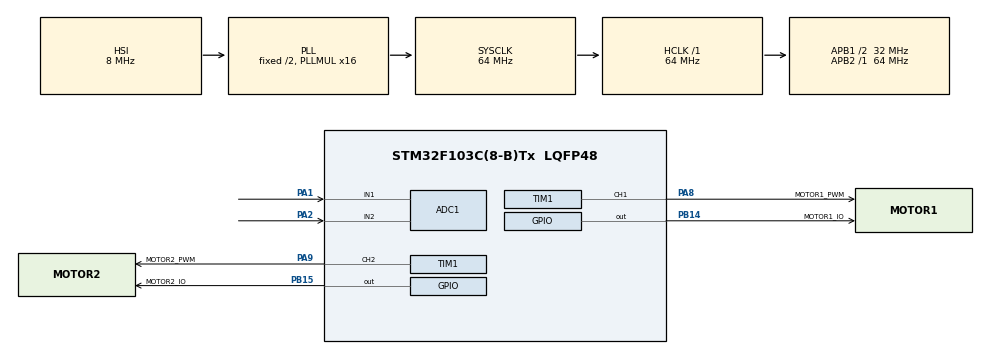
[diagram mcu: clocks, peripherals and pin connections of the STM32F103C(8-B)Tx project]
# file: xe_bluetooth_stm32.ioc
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ADC1.Channel-2\#ChannelRegularConversion=ADC_CHANNEL_1
ADC1.Channel-3\#ChannelRegularConversion=ADC_CHANNEL_2
ADC1.ContinuousConvMode=ENABLE
ADC1.DataAlign=ADC_DATAALIGN_RIGHT
ADC1.DiscontinuousConvMode=DISABLE
ADC1.NbrOfConversion=2
ADC1.NbrOfConversionFlag=1
ADC1.Rank-2\#ChannelRegularConversion=1
ADC1.Rank-3\#ChannelRegularConversion=2
ADC1.SamplingTime-2\#ChannelRegularConversion=ADC_SAMPLETIME_239CYCLES_5
ADC1.SamplingTime-3\#ChannelRegularConversion=ADC_SAMPLETIME_239CYCLES_5
ADC1.master=1
Dma.ADC1.0.Direction=DMA_PERIPH_TO_MEMORY
Dma.ADC1.0.Instance=DMA1_Channel1
Dma.ADC1.0.MemDataAlignment=DMA_MDATAALIGN_WORD
Dma.ADC1.0.MemInc=DMA_MINC_ENABLE
Dma.ADC1.0.Mode=DMA_CIRCULAR
Dma.ADC1.0.PeriphDataAlignment=DMA_PDATAALIGN_WORD
Dma.ADC1.0.PeriphInc=DMA_PINC_DISABLE
Dma.ADC1.0.Priority=DMA_PRIORITY_LOW
Dma.Request0=ADC1
Mcu.Family=STM32F1
Mcu.Name=STM32F103C(8-B)Tx
Mcu.Package=LQFP48
NVIC.DMA1_Channel1_IRQn=true\:0\:0\:false\:false\:true\:false\:true\:true
NVIC.PriorityGroup=NVIC_PRIORITYGROUP_4
NVIC.TIM1_UP_IRQn=true\:0\:0\:true\:false\:true\:true\:true\:true
PA1.Signal=ADCx_IN1
PA13.Mode=Serial_Wire
PA13.Signal=SYS_JTMS-SWDIO
PA14.Mode=Serial_Wire
PA14.Signal=SYS_JTCK-SWCLK
PA2.Signal=ADCx_IN2
PA8.GPIO_Label=MOTOR1_PWM
PA8.Signal=S_TIM1_CH1
PA9.GPIO_Label=MOTOR2_PWM
PA9.Signal=S_TIM1_CH2
PB14.GPIO_Label=MOTOR1_IO
PB14.Signal=GPIO_Output
PB15.GPIO_Label=MOTOR2_IO
PB15.Signal=GPIO_Output
PD0-OSC_IN.Mode=HSE-External-Oscillator
PD0-OSC_IN.Signal=RCC_OSC_IN
PD1-OSC_OUT.Mode=HSE-External-Oscillator
PD1-OSC_OUT.Signal=RCC_OSC_OUT
ProjectManager.HeapSize=0x200
ProjectManager.StackSize=0x400
ProjectManager.TargetToolchain=STM32CubeIDE
RCC.ADCPresc=RCC_ADCPCLK2_DIV8
RCC.AHBFreq_Value=64000000
RCC.APB1CLKDivider=RCC_HCLK_DIV2
RCC.APB1Freq_Value=32000000
RCC.APB1TimFreq_Value=64000000
RCC.APB2Freq_Value=64000000
RCC.APB2TimFreq_Value=64000000
RCC.HCLKFreq_Value=64000000
RCC.PLLMUL=RCC_PLL_MUL16
RCC.SYSCLKFreq_VALUE=64000000
RCC.SYSCLKSource=RCC_SYSCLKSOURCE_PLLCLK
RCC.USBFreq_Value=64000000
SH.ADCx_IN1.0=ADC1_IN1,IN1
SH.ADCx_IN2.0=ADC1_IN2,IN2
SH.S_TIM1_CH1.0=TIM1_CH1,PWM Generation1 CH1
SH.S_TIM1_CH2.0=TIM1_CH2,PWM Generation2 CH2
TIM1.Channel-PWM\ Generation1\ CH1=TIM_CHANNEL_1
TIM1.Channel-PWM\ Generation2\ CH2=TIM_CHANNEL_2
TIM1.Period=999
TIM1.Prescaler=63
VP_TIM1_VS_ClockSourceINT.Mode=Internal
board=custom

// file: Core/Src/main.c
/* USER CODE BEGIN Header */
/**
  ******************************************************************************
  * @file           : main.c
  * @brief          : Main program body
  ******************************************************************************
  * @attention
  *
  * Copyright (c) 2024 STMicroelectronics.
  * All rights reserved.
  *
  * This software is licensed under terms that can be found in the LICENSE file
  * in the root directory of this software component.
  * If no LICENSE file comes with this software, it is provided AS-IS.
  *
  ******************************************************************************
  */
/* USER CODE END Header */
#include "main.h"

/* USER CODE BEGIN Includes */
#include "car.h"
/* USER CODE END Includes */

ADC_HandleTypeDef hadc1;
DMA_HandleTypeDef hdma_adc1;

TIM_HandleTypeDef htim1;

/* USER CODE BEGIN PV */
uint16_t arr;
uint16_t ccr;
uint16_t ccr2;
uint16_t cnt;
uint32_t VR[2];
/* USER CODE END PV */

void SystemClock_Config(void);
static void MX_GPIO_Init(void);
static void MX_DMA_Init(void);
static void MX_TIM1_Init(void);
static void MX_ADC1_Init(void);

int main(void)
{

  /* MCU Configuration--------------------------------------------------------*/

  /* Reset of all peripherals, Initializes the Flash interface and the Systick. */
  HAL_Init();

  /* Configure the system clock */
  SystemClock_Config();

  /* Initialize all configured peripherals */
  MX_GPIO_Init();
  MX_DMA_Init();
  MX_TIM1_Init();
  MX_ADC1_Init();
  /* USER CODE BEGIN 2 */
 car_init(&htim1);
 //car_control(CAR_FORWARD_STATE, 90);
 HAL_ADC_Start_DMA(&hadc1, VR, 2);

  /* USER CODE END 2 */

  /* Infinite loop */
  while (1)
  {

    /* USER CODE BEGIN 3 */
	  //car_control(CAR_FORWARD_STATE, 50);
//	  car_control(CAR_FORWARD_STATE, 50);

	 arr = __HAL_TIM_GET_AUTORELOAD(&htim1);
	 ccr = __HAL_TIM_GET_COMPARE(&htim1,TIM_CHANNEL_1);
	 ccr2 = __HAL_TIM_GET_COMPARE(&htim1,TIM_CHANNEL_2);
	 cnt = __HAL_TIM_GET_COUNTER(&htim1);
	 if(VR[0] > 4000 && VR[1]>2800)
	 {
		 car_control(CAR_FORWARD_STATE, 90);
	 }
	 else if(VR[0] == 0 && VR[1]>3000)
	 {
		 car_control(CAR_BACKWARD_STATE, 90);
	 }
	 else 	 if(VR[0] > 3000 && VR[1] == 0)
	 {
		 car_control(CAR_RIGHT_STATE, 90);
	 }
	 else 	 if(VR[0] > 3000  && VR[1] > 4000)
	 {
		 car_control(CAR_LEFT_STATE, 90);
	 }
	 else 	 if(VR[0] > 3000 && VR[0] < 4000 && VR[1] >3000 && VR[1] < 4000)
	 {
		 car_control(CAR_FORWARD_STATE, 0);
	 }

  }
  /* USER CODE END 3 */
}

void SystemClock_Config(void)
{
  RCC_OscInitTypeDef RCC_OscInitStruct = {0};
  RCC_ClkInitTypeDef RCC_ClkInitStruct = {0};
  RCC_PeriphCLKInitTypeDef PeriphClkInit = {0};

  /** Initializes the RCC Oscillators according to the specified parameters
  * in the RCC_OscInitTypeDef structure.
  */
  RCC_OscInitStruct.OscillatorType = RCC_OSCILLATORTYPE_HSI;
  RCC_OscInitStruct.HSIState = RCC_HSI_ON;
  RCC_OscInitStruct.HSICalibrationValue = RCC_HSICALIBRATION_DEFAULT;
  RCC_OscInitStruct.PLL.PLLState = RCC_PLL_ON;
  RCC_OscInitStruct.PLL.PLLSource = RCC_PLLSOURCE_HSI_DIV2;
  RCC_OscInitStruct.PLL.PLLMUL = RCC_PLL_MUL16;
  if (HAL_RCC_OscConfig(&RCC_OscInitStruct) != HAL_OK)
  {
    Error_Handler();
  }

  /** Initializes the CPU, AHB and APB buses clocks
  */
  RCC_ClkInitStruct.ClockType = RCC_CLOCKTYPE_HCLK|RCC_CLOCKTYPE_SYSCLK
                              |RCC_CLOCKTYPE_PCLK1|RCC_CLOCKTYPE_PCLK2;
  RCC_ClkInitStruct.SYSCLKSource = RCC_SYSCLKSOURCE_PLLCLK;
  RCC_ClkInitStruct.AHBCLKDivider = RCC_SYSCLK_DIV1;
  RCC_ClkInitStruct.APB1CLKDivider = RCC_HCLK_DIV2;
  RCC_ClkInitStruct.APB2CLKDivider = RCC_HCLK_DIV1;

  if (HAL_RCC_ClockConfig(&RCC_ClkInitStruct, FLASH_LATENCY_2) != HAL_OK)
  {
    Error_Handler();
  }
  PeriphClkInit.PeriphClockSelection = RCC_PERIPHCLK_ADC;
  PeriphClkInit.AdcClockSelection = RCC_ADCPCLK2_DIV8;
  if (HAL_RCCEx_PeriphCLKConfig(&PeriphClkInit) != HAL_OK)
  {
    Error_Handler();
  }
}

static void MX_ADC1_Init(void)
{

  ADC_ChannelConfTypeDef sConfig = {0};

  /** Common config
  */
  hadc1.Instance = ADC1;
  hadc1.Init.ScanConvMode = ADC_SCAN_ENABLE;
  hadc1.Init.ContinuousConvMode = ENABLE;
  hadc1.Init.DiscontinuousConvMode = DISABLE;
  hadc1.Init.ExternalTrigConv = ADC_SOFTWARE_START;
  hadc1.Init.DataAlign = ADC_DATAALIGN_RIGHT;
  hadc1.Init.NbrOfConversion = 2;
  if (HAL_ADC_Init(&hadc1) != HAL_OK)
  {
    Error_Handler();
  }

  /** Configure Regular Channel
  */
  sConfig.Channel = ADC_CHANNEL_1;
  sConfig.Rank = ADC_REGULAR_RANK_1;
  sConfig.SamplingTime = ADC_SAMPLETIME_239CYCLES_5;
  if (HAL_ADC_ConfigChannel(&hadc1, &sConfig) != HAL_OK)
  {
    Error_Handler();
  }

  /** Configure Regular Channel
  */
  sConfig.Channel = ADC_CHANNEL_2;
  sConfig.Rank = ADC_REGULAR_RANK_2;
  if (HAL_ADC_ConfigChannel(&hadc1, &sConfig) != HAL_OK)
  {
    Error_Handler();
  }

}

static void MX_TIM1_Init(void)
{

  TIM_ClockConfigTypeDef sClockSourceConfig = {0};
  TIM_MasterConfigTypeDef sMasterConfig = {0};
  TIM_OC_InitTypeDef sConfigOC = {0};
  TIM_BreakDeadTimeConfigTypeDef sBreakDeadTimeConfig = {0};

  htim1.Instance = TIM1;
  htim1.Init.Prescaler = 63;
  htim1.Init.CounterMode = TIM_COUNTERMODE_UP;
  htim1.Init.Period = 999;
  htim1.Init.ClockDivision = TIM_CLOCKDIVISION_DIV1;
  htim1.Init.RepetitionCounter = 0;
  htim1.Init.AutoReloadPreload = TIM_AUTORELOAD_PRELOAD_DISABLE;
  if (HAL_TIM_Base_Init(&htim1) != HAL_OK)
  {
    Error_Handler();
  }
  sClockSourceConfig.ClockSource = TIM_CLOCKSOURCE_INTERNAL;
  if (HAL_TIM_ConfigClockSource(&htim1, &sClockSourceConfig) != HAL_OK)
  {
    Error_Handler();
  }
  if (HAL_TIM_PWM_Init(&htim1) != HAL_OK)
  {
    Error_Handler();
  }
  sMasterConfig.MasterOutputTrigger = TIM_TRGO_RESET;
  sMasterConfig.MasterSlaveMode = TIM_MASTERSLAVEMODE_DISABLE;
  if (HAL_TIMEx_MasterConfigSynchronization(&htim1, &sMasterConfig) != HAL_OK)
  {
    Error_Handler();
  }
  sConfigOC.OCMode = TIM_OCMODE_PWM1;
  sConfigOC.Pulse = 0;
  sConfigOC.OCPolarity = TIM_OCPOLARITY_HIGH;
  sConfigOC.OCNPolarity = TIM_OCNPOLARITY_HIGH;
  sConfigOC.OCFastMode = TIM_OCFAST_DISABLE;
  sConfigOC.OCIdleState = TIM_OCIDLESTATE_RESET;
  sConfigOC.OCNIdleState = TIM_OCNIDLESTATE_RESET;
  if (HAL_TIM_PWM_ConfigChannel(&htim1, &sConfigOC, TIM_CHANNEL_1) != HAL_OK)
  {
    Error_Handler();
  }
  if (HAL_TIM_PWM_ConfigChannel(&htim1, &sConfigOC, TIM_CHANNEL_2) != HAL_OK)
  {
    Error_Handler();
  }
  sBreakDeadTimeConfig.OffStateRunMode = TIM_OSSR_DISABLE;
  sBreakDeadTimeConfig.OffStateIDLEMode = TIM_OSSI_DISABLE;
  sBreakDeadTimeConfig.LockLevel = TIM_LOCKLEVEL_OFF;
  sBreakDeadTimeConfig.DeadTime = 0;
  sBreakDeadTimeConfig.BreakState = TIM_BREAK_DISABLE;
  sBreakDeadTimeConfig.BreakPolarity = TIM_BREAKPOLARITY_HIGH;
  sBreakDeadTimeConfig.AutomaticOutput = TIM_AUTOMATICOUTPUT_DISABLE;
  if (HAL_TIMEx_ConfigBreakDeadTime(&htim1, &sBreakDeadTimeConfig) != HAL_OK)
  {
    Error_Handler();
  }
  HAL_TIM_MspPostInit(&htim1);

}

static void MX_DMA_Init(void)
{

  /* DMA controller clock enable */
  __HAL_RCC_DMA1_CLK_ENABLE();

  /* DMA interrupt init */
  /* DMA1_Channel1_IRQn interrupt configuration */
  HAL_NVIC_SetPriority(DMA1_Channel1_IRQn, 0, 0);
  HAL_NVIC_EnableIRQ(DMA1_Channel1_IRQn);

}

static void MX_GPIO_Init(void)
{
  GPIO_InitTypeDef GPIO_InitStruct = {0};

  /* GPIO Ports Clock Enable */
  __HAL_RCC_GPIOD_CLK_ENABLE();
  __HAL_RCC_GPIOA_CLK_ENABLE();
  __HAL_RCC_GPIOB_CLK_ENABLE();

  /*Configure GPIO pin Output Level */
  HAL_GPIO_WritePin(GPIOB, MOTOR1_IO_Pin|MOTOR2_IO_Pin, GPIO_PIN_RESET);

  /*Configure GPIO pins : MOTOR1_IO_Pin MOTOR2_IO_Pin */
  GPIO_InitStruct.Pin = MOTOR1_IO_Pin|MOTOR2_IO_Pin;
  GPIO_InitStruct.Mode = GPIO_MODE_OUTPUT_PP;
  GPIO_InitStruct.Pull = GPIO_NOPULL;
  GPIO_InitStruct.Speed = GPIO_SPEED_FREQ_LOW;
  HAL_GPIO_Init(GPIOB, &GPIO_InitStruct);

}

void Error_Handler(void)
{
  __disable_irq();
  while (1)
  {
  }
}
